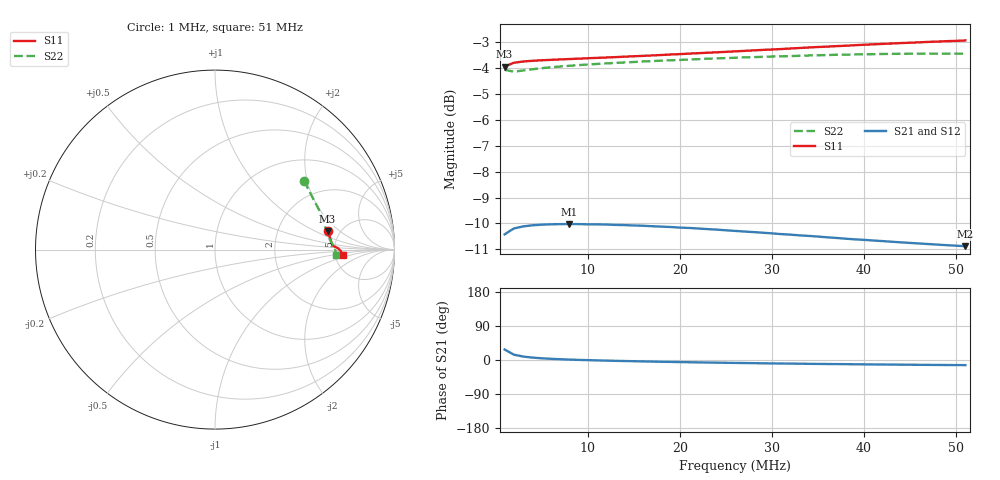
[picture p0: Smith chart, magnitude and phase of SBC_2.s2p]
# MHz S RI R 50
! S-Parameters data
! Freq  reS11  imS11  reS21  imS21  reS12  imS12  reS22  imS22
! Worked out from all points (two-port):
!   51 points, 1 MHz to 51 MHz, reference 50 ohm
!   highest |S21| = -10.02 dB at 8 MHz (marker M1); lowest = -10.9 dB at 51 MHz (marker M2)
!   |S21| within 3 dB of the highest: start of sweep to end of sweep
!   lowest |S11| = -3.9 dB at 1 MHz (marker M3), VSWR 4.48, Z = 199 + j68.7 ohm
!   |S11| at or under -10 dB: nowhere
!   |S22| runs from -4.1 to -3.4 dB; largest |S21 - S12| = 0.0021
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1  0.6269 0.103  0.267 0.1397  0.2679 0.1408  0.4959 0.3823
2  0.6434 0.0579  0.2999 0.0755  0.3013 0.0761  0.5818 0.217
3  0.6483 0.0419  0.3082 0.0495  0.3097 0.05  0.6049 0.1546
4  0.6508 0.0338  0.3117 0.0349  0.3133 0.0351  0.6157 0.1219
5  0.6526 0.0291  0.3135 0.0249  0.3151 0.0252  0.6224 0.1018
6  0.654 0.026  0.3145 0.0174  0.3161 0.0177  0.627 0.0879
7  0.6553 0.0238  0.3151 0.0115  0.3167 0.0116  0.6306 0.0776
8  0.6564 0.0223  0.3153 0.00635  0.317 0.00647  0.6335 0.07
9  0.6576 0.0211  0.3153 0.00203  0.3171 0.00209  0.6361 0.0637
10  0.6588 0.0204  0.315 -0.00191  0.3171 -0.00172  0.6384 0.0588
12  0.6611 0.0188  0.3146 -0.00891  0.3163 -0.00887  0.6422 0.0506
14  0.6636 0.0177  0.3136 -0.0149  0.3153 -0.0149  0.6454 0.0443
18  0.6686 0.0157  0.3108 -0.0253  0.3125 -0.0252  0.6512 0.0344
22  0.674 0.0133  0.3074 -0.0338  0.3091 -0.0338  0.656 0.0264
26  0.6796 0.0105  0.3032 -0.0409  0.3049 -0.041  0.6603 0.019
30  0.6854 0.00653  0.2989 -0.0472  0.3008 -0.0473  0.6642 0.0117
32  0.6884 0.00479  0.2968 -0.0496  0.2982 -0.0499  0.6654 0.00818
35  0.693 0.000671  0.2935 -0.0534  0.2951 -0.0537  0.668 0.00256
39  0.6984 -0.00552  0.289 -0.0574  0.2907 -0.0579  0.6705 -0.00497
43  0.7038 -0.0129  0.2851 -0.0612  0.2867 -0.0614  0.6721 -0.013
48  0.7096 -0.0235  0.2804 -0.065  0.2819 -0.0653  0.6725 -0.0235
51  0.7128 -0.0307  0.2779 -0.0669  0.2794 -0.0674  0.6721 -0.0302
